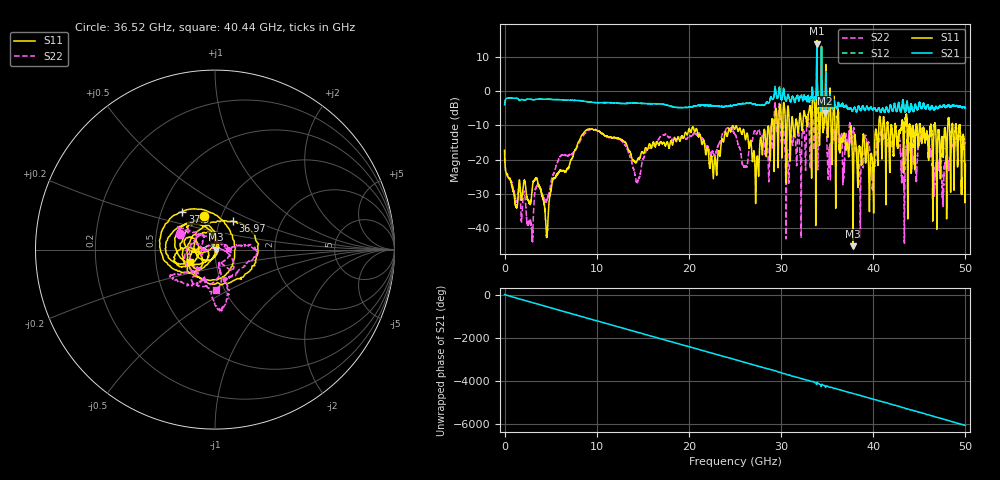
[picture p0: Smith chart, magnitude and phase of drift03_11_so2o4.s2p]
!Created with skrf (http://scikit-rf.org).
# Hz S RI R 50.0
!freq ReS11 ImS11 ReS21 ImS21 ReS12 ImS12 ReS22 ImS22
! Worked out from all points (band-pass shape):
!   10001 points, 300 kHz to 50 GHz, reference 50 ohm
!   highest |S21| = 13.86 dB at 33.88 GHz (marker M1); lowest = -6.4 dB at 34.79 GHz (marker M2)
!   |S21| within 3 dB of the highest: 33.86968 GHz to 33.88997 GHz (20.29 MHz wide, 0.0599 % of centre); 34.37688 GHz to 34.39179 GHz (14.91 MHz wide, 0.0433 % of centre)
!   lowest |S11| = -45.4 dB at 37.82 GHz (marker M3), VSWR 1.01, Z = 50.5 + j0.0232 ohm
!   |S11| at or under -10 dB: start of sweep to 28.94 GHz; 36.27 GHz to 40.61 GHz (4.344 GHz wide, 11.3 % of centre); 46.74 GHz to 48.09 GHz (1.346 GHz wide, 2.84 % of centre) (the widest 3 of 65)
!   |S22| runs from -44.5 to 10.3 dB; largest |S21 - S12| = 0.81
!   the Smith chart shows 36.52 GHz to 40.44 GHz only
!   S11 on the Smith chart (normalised r, x): 36.52 GHz: 0.83, +0.32; 36.97 GHz: 1.15, +0.38; 37.5 GHz: 0.64, +0.29; 40.44 GHz: 0.75, -0.10
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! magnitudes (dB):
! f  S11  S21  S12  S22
! 300 kHz  -17.4  -4.0  -4.0  -17.1
! 2.85 GHz  -32.4  -2.4  -2.4  -38.0
! 4.585 GHz  -41.9  -2.3  -2.3  -31.9
! 8.335 GHz  -13.1  -2.8  -2.8  -13.9
! 14.43 GHz  -20.0  -3.5  -3.5  -26.4
! 16.67 GHz  -15.5  -3.7  -3.7  -14.3
! 22.82 GHz  -19.4  -4.3  -4.3  -19.1
! 25 GHz  -11.0  -4.0  -4.0  -12.5
! 27.39 GHz  -19.3  -4.1  -4.1  -12.3
! 29.6 GHz  -10.4  -2.0  -2.1  -11.8
! 30.7 GHz  -5.8  -1.5  -1.5  -17.2
! 33.34 GHz  -13.3  -0.6  -0.6  -7.4
! 33.88 GHz  14.8  13.9  13.5  10.3
! 34.79 GHz  -3.1  -6.4  -5.0  -8.7
! 36.52 GHz  -14.2  -4.3  -4.4  -13.3
! 36.97 GHz  -14.5  -4.4  -4.4  -14.5
! 37.5 GHz  -11.1  -5.1  -5.2  -9.9
! 37.82 GHz  -45.4  -5.5  -5.6  -11.7
! 40.44 GHz  -16.2  -5.7  -5.7  -12.9
! 41.67 GHz  -12.4  -6.0  -6.0  -15.4
! 47.58 GHz  -17.6  -4.3  -4.2  -29.4
! 50 GHz  -21.3  -4.9  -4.9  -15.1
